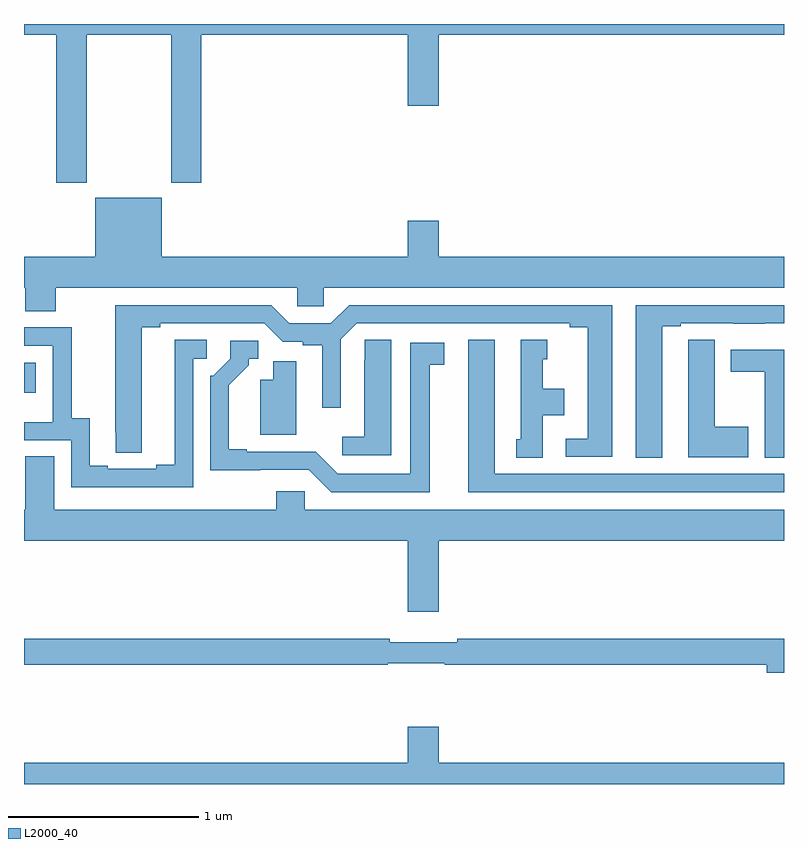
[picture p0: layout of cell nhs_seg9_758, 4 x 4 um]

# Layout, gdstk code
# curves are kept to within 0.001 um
import gdstk
lib = gdstk.Library(unit=1e-6, precision=1e-09)
def R(c, l, rs):  # rectangles x0, y0, x1, y1
    for r in rs: c.add(gdstk.rectangle(r[:2], r[2:], *l))
def P(c, l, *ps):  # polygons
    for p in ps: c.add(gdstk.Polygon(p, *l))
L2000_40 = (2000, 40)

nhs_seg9_758 = lib.new_cell('nhs_seg9_758')
R(nhs_seg9_758, L2000_40, [(151,1170.56,151.063,1170.718)])
P(nhs_seg9_758, L2000_40, [(151,1172.444),(151.169,1172.444),(151.169,1171.665),(151.329,1171.665),(151.329,1172.444),(151.774,1172.444),(151.774,1171.665),(151.934,1171.665),(151.934,1172.444),(153.02,1172.444),(153.02,1172.07),(153.184,1172.07),(153.184,1172.444),(155,1172.444),(155,1172.5),(151,1172.5)],
  [(151.167,1171.112),(152.439,1171.112),(152.439,1171.014),(152.577,1171.014),(152.577,1171.112),(155,1171.112),(155,1171.276),(153.184,1171.276),(153.184,1171.465),(153.02,1171.465),(153.02,1171.276),(151.726,1171.276),(151.726,1171.585),(151.376,1171.585),(151.376,1171.276),(151,1171.276),(151,1171.112),(151.007,1171.112),(151.007,1170.988),(151.167,1170.988)],
  [(154.36,1170.909),(154.456,1170.909),(154.456,1170.924),(154.732,1170.924),(154.732,1170.923),(154.898,1170.923),(154.898,1170.924),(155,1170.924),(155,1171.02),(154.22,1171.02),(154.22,1170.217),(154.36,1170.217)],
  [(154.096,1171.02),(152.711,1171.02),(152.615,1170.924),(152.397,1170.924),(152.301,1171.02),(151.481,1171.02),(151.482,1170.244),(151.621,1170.244),(151.621,1170.904),(151.717,1170.904),(151.717,1170.924),(152.265,1170.924),(152.361,1170.828),(152.466,1170.828),(152.466,1170.808),(152.57,1170.808),(152.57,1170.48),(152.667,1170.48),(152.667,1170.84),(152.751,1170.924),(153.872,1170.924),(153.872,1170.904),(153.968,1170.904),(153.968,1170.318),(153.852,1170.318),(153.852,1170.222),(154.096,1170.222)],
  [(151.89,1170.738),(151.963,1170.738),(151.963,1170.839),(151.793,1170.839),(151.793,1170.179),(151.697,1170.179),(151.697,1170.159),(151.441,1170.159),(151.441,1170.174),(151.345,1170.174),(151.345,1170.425),(151.251,1170.425),(151.251,1170.903),(151,1170.903),(151,1170.807),(151.152,1170.807),(151.152,1170.406),(151.151,1170.406),(151.151,1170.405),(151,1170.405),(151,1170.309),(151.248,1170.309),(151.248,1170.063),(151.89,1170.063)],
  [(154.813,1170.381),(154.636,1170.381),(154.636,1170.839),(154.497,1170.839),(154.497,1170.731),(154.496,1170.731),(154.496,1170.221),(154.813,1170.221)],
  [(152.932,1170.839),(152.793,1170.839),(152.793,1170.731),(152.792,1170.731),(152.792,1170.328),(152.676,1170.328),(152.676,1170.231),(152.932,1170.231)],
  [(153.73,1170.44),(153.844,1170.44),(153.844,1170.58),(153.73,1170.58),(153.73,1170.735),(153.754,1170.735),(153.754,1170.838),(153.614,1170.838),(153.614,1170.315),(153.59,1170.315),(153.59,1170.217),(153.73,1170.217)],
  [(155,1170.132),(153.478,1170.132),(153.478,1170.838),(153.338,1170.838),(153.338,1170.036),(155,1170.036)],
  [(153.136,1170.706),(153.211,1170.706),(153.211,1170.822),(153.032,1170.822),(153.032,1170.132),(152.652,1170.132),(152.535,1170.249),(152.173,1170.249),(152.173,1170.262),(152.077,1170.262),(152.077,1170.598),(152.182,1170.703),(152.182,1170.738),(152.232,1170.738),(152.232,1170.834),(152.085,1170.834),(152.085,1170.738),(151.995,1170.648),(151.98,1170.648),(151.98,1170.152),(152.499,1170.153),(152.616,1170.036),(153.136,1170.036)],
  [(155,1170.786),(154.721,1170.786),(154.721,1170.67),(154.898,1170.67),(154.898,1170.217),(155,1170.217)],
  [(152.434,1170.726),(152.312,1170.726),(152.312,1170.628),(152.243,1170.628),(152.243,1170.338),(152.434,1170.338)],
  [(153.184,1169.78),(155,1169.78),(155,1169.944),(152.478,1169.944),(152.478,1170.042),(152.327,1170.042),(152.327,1169.944),(151.159,1169.944),(151.159,1170.224),(151.007,1170.224),(151.007,1169.944),(151,1169.944),(151,1169.78),(153.02,1169.78),(153.02,1169.406),(153.184,1169.406)],
  [(155,1169.264),(153.28,1169.264),(153.28,1169.245),(152.924,1169.245),(152.924,1169.264),(151,1169.264),(151,1169.128),(152.914,1169.128),(152.914,1169.136),(153.214,1169.136),(153.214,1169.128),(154.91,1169.128),(154.91,1169.086),(155,1169.086)],
  [(155,1168.612),(153.184,1168.612),(153.184,1168.801),(153.02,1168.801),(153.02,1168.612),(151,1168.612),(151,1168.5),(155,1168.5)])

lib.write_gds('nhs_seg9_758.gds')
